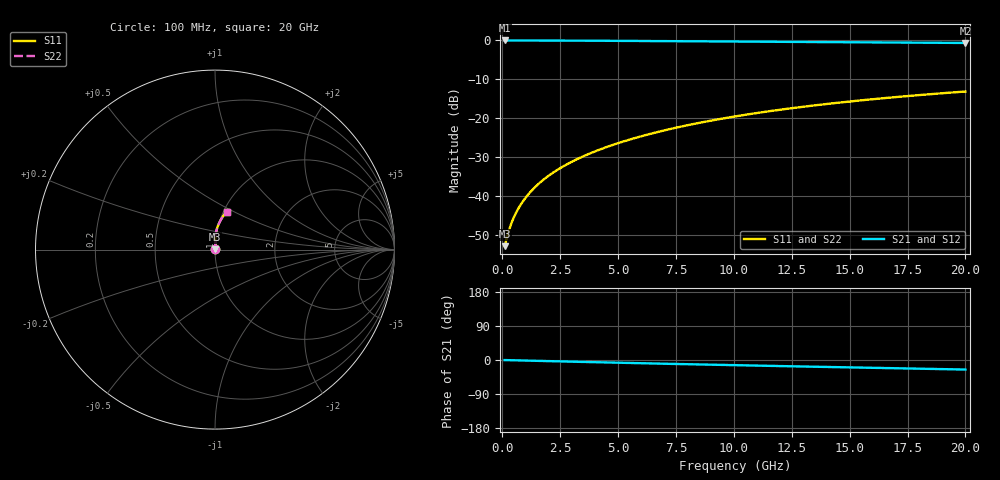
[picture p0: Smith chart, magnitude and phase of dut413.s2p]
! Touchstone file exported from HFSS 2024.1.0
!  File:  C:/UserFiles/LocalFiles/RDL_TSV_Batchsim/temp_RDL_top_413_1779675687.aedt
!  Generated:  10:23:36 AM May 25, 2026
!  Design:  RDL_top
!  Project:  temp_RDL_top_413_1779675687
!  Setup:  Setup1
!  Solution:  Sweep
! Variables:
!  dtsv = 10.80580581um
!  hbump = 3um
!  htsv = 91.25um
!  ldown = 100um
!  lrdl = 363.18um
!  p = 40
!  p1 = 43.87um
!  rhole = 1um
!  t = 450um
!  tdown = 3.915915916um
!  trdl = 2.99um
!  wdown = 15.38538539um
!  wrdl = 24.3um
# GHz S MA R 50.000000
! Terminal data exported
! Port[1] = Box2_T1
! Port[2] = Box2_T2
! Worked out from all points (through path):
!   200 points, 100 MHz to 20 GHz, reference 50 ohm
!   highest |S21| = -0.02 dB at 100 MHz (marker M1); lowest = -0.7 dB at 20 GHz (marker M2)
!   group delay of S21, straight-line fit = 3.46 ps
!   lowest |S11| = -52.8 dB at 100 MHz (marker M3), VSWR 1.00, Z = 50.2 + j0.107 ohm
!   |S11| at or under -10 dB: start of sweep to end of sweep
!   |S22| runs from -52.8 to -13.1 dB; largest |S21 - S12| = 2.4e-15
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0.1  0.002299 27.5  0.998 -0.2  0.998 -0.2  0.002299 27.5
! Gamma 0 0 0 0
! Port Impedance 50 0 50 0
0.3  0.003772 53.5  0.9977 -0.5  0.9977 -0.5  0.003772 53.5
0.4  0.004585 59.3  0.9976 -0.6  0.9976 -0.6  0.004585 59.3
0.5  0.005398 63.5  0.9974 -0.8  0.9974 -0.8  0.005398 63.5
0.6  0.006215 66.7  0.9973 -0.9  0.9973 -0.9  0.006215 66.7
0.8  0.007868 71.5  0.9971 -1.2  0.9971 -1.2  0.007868 71.5
1  0.009555 74.8  0.9968 -1.5  0.9968 -1.5  0.009555 74.8
1.2  0.01127 77.3  0.9966 -1.8  0.9966 -1.8  0.01127 77.3
1.7  0.01568 81.4  0.9959 -2.5  0.9959 -2.5  0.01568 81.4
2.2  0.02023 83.9  0.9949 -3.2  0.9949 -3.2  0.02024 83.9
2.8  0.02587 85.9  0.9936 -4.1  0.9936 -4.1  0.02587 85.9
3.5  0.03267 87.3  0.9917 -5.1  0.9917 -5.1  0.03268 87.3
4.2  0.03973 88.1  0.9895 -6.1  0.9895 -6.1  0.03974 88.1
5  0.0481 88.6  0.9867 -7.2  0.9867 -7.2  0.04811 88.6
5.9  0.05786 88.7  0.9833 -8.4  0.9833 -8.4  0.05788 88.7
6.8  0.06793 88.4  0.9797 -9.6  0.9797 -9.6  0.06796 88.4
8.4  0.08641 87.3  0.9732 -11.6  0.9732 -11.6  0.08645 87.3
10.1  0.1065 85.6  0.9662 -13.7  0.9662 -13.7  0.1066 85.6
11.7  0.1256 83.7  0.9596 -15.7  0.9596 -15.7  0.1257 83.7
13.4  0.1458 81.5  0.9528 -17.7  0.9528 -17.7  0.1459 81.6
16.7  0.1842 77.2  0.9399 -21.5  0.9399 -21.5  0.1844 77.2
20  0.2211 72.8  0.927 -25.2  0.927 -25.2  0.2212 72.9
